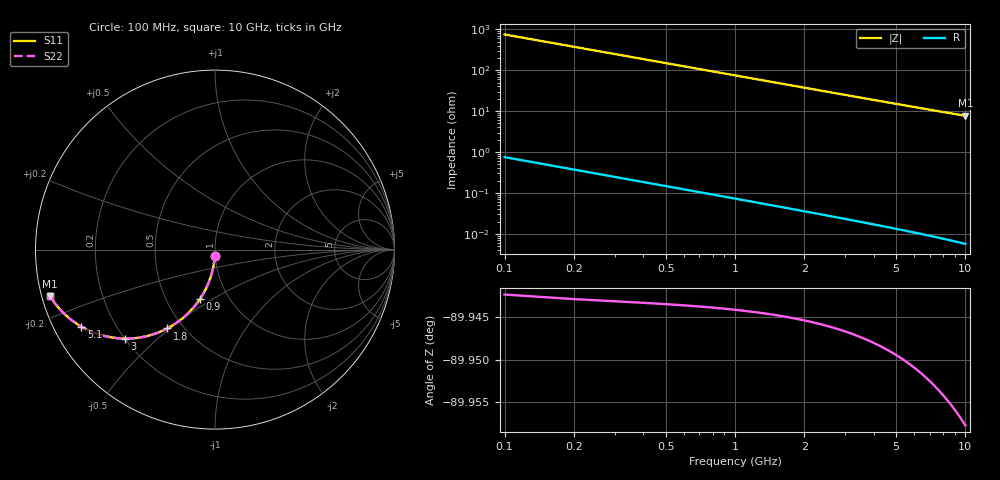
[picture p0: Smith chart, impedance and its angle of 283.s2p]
# Hz S RI R 50.00
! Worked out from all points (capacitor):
!   100 points, 100 MHz to 10 GHz, reference 50 ohm
!   read as one part in shunt: C = 2.13 pF near 100 MHz
!   lowest |Z| = 7.71 ohm at 10 GHz (marker M1)
!   S11 on the Smith chart (normalised r, x): 100 MHz: 1.00, -0.07; 900 MHz: 0.73, -0.44; 1.8 GHz: 0.41, -0.49; 3 GHz: 0.20, -0.40; 5.1 GHz: 0.08, -0.27; 10 GHz: 0.02, -0.14
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1e8  -0.00107 -0.0333  0.9988 -0.0335  0.9988 -0.0335  -0.00107 -0.0333
2e8  -0.00444 -0.0664  0.9954 -0.0669  0.9954 -0.0669  -0.00444 -0.0664
3e8  -0.00999 -0.099  0.9898 -0.0997  0.9898 -0.0997  -0.00999 -0.099
4e8  -0.0176 -0.131  0.9822 -0.132  0.9822 -0.132  -0.0176 -0.131
5e8  -0.0273 -0.1621  0.9725 -0.1633  0.9725 -0.1633  -0.0273 -0.1621
6e8  -0.0388 -0.1922  0.961 -0.1937  0.961 -0.1937  -0.0388 -0.1922
7e8  -0.0521 -0.2211  0.9477 -0.2228  0.9477 -0.2228  -0.0521 -0.2211
9e8  -0.0833 -0.2749  0.9165 -0.2771  0.9165 -0.2771  -0.0833 -0.2749
1.1e9  -0.1195 -0.3226  0.8803 -0.3253  0.8803 -0.3253  -0.1195 -0.3226
1.3e9  -0.1593 -0.364  0.8405 -0.3671  0.8405 -0.3671  -0.1593 -0.364
1.5e9  -0.2014 -0.3988  0.7984 -0.4025  0.7984 -0.4025  -0.2014 -0.3988
1.8e9  -0.2664 -0.4394  0.7334 -0.4438  0.7334 -0.4438  -0.2664 -0.4394
2.1e9  -0.3308 -0.4674  0.669 -0.4726  0.669 -0.4726  -0.3308 -0.4674
2.4e9  -0.3923 -0.4848  0.6075 -0.4907  0.6075 -0.4907  -0.3923 -0.4848
3e9  -0.5022 -0.4958  0.4976 -0.5032  0.4976 -0.5032  -0.5022 -0.4958
3.4e9  -0.5644 -0.4911  0.4354 -0.4995  0.4354 -0.4995  -0.5644 -0.4911
4.2e9  -0.6642 -0.4665  0.3355 -0.4769  0.3355 -0.4769  -0.6642 -0.4665
5.1e9  -0.7449 -0.429  0.2548 -0.4416  0.2548 -0.4416  -0.7449 -0.429
5.9e9  -0.7964 -0.3947  0.2033 -0.4093  0.2033 -0.4093  -0.7964 -0.3947
6.7e9  -0.8348 -0.3624  0.1649 -0.379  0.1649 -0.379  -0.8348 -0.3624
8.4e9  -0.8885 -0.3034  0.111 -0.3244  0.111 -0.3244  -0.8885 -0.3034
1e10  -0.919 -0.2593  0.0804 -0.2844  0.0804 -0.2844  -0.919 -0.2593
